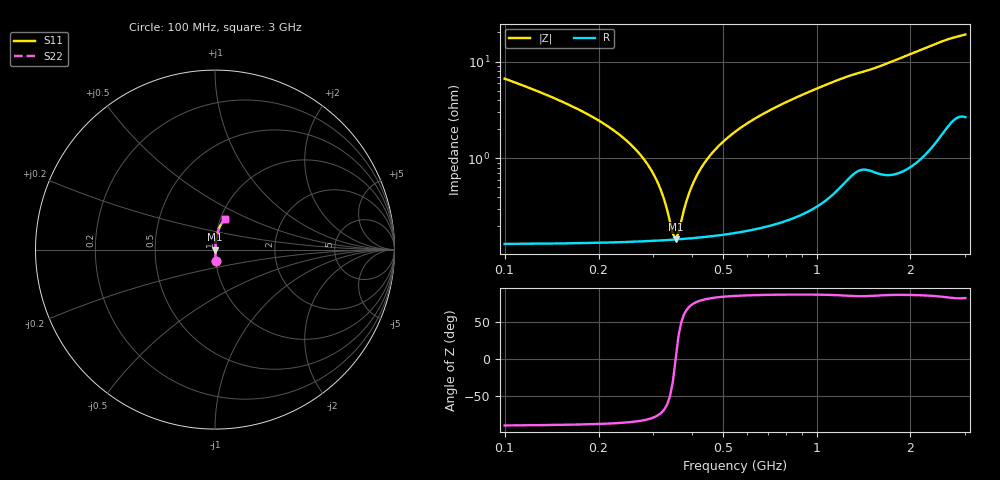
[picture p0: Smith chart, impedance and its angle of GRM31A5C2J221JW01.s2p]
!Murata Part Number: GRM31A5C2J221JW01
!These Parameters are Measured in Series Mode Connection
!Data Generated on Mar 30, 2021
!  o--ll--o
!Port1  Port2
!  o------o
!Operation Temp=25[degC], DC Bias Voltage=0[V]
!Freq. Start=100[MHz] Stop=3[GHz] 401[Steps]
# Hz S RI R 50
!Freq.(Hz) S11(Real) S11(Imag) S21(Real) S21(Imag) S12(Real) S12(Imag) S22(Real) S22(Imag)
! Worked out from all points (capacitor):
!   401 points, 100 MHz to 3 GHz, reference 50 ohm
!   read as one part in series: C = 220 pF near 114.5 MHz
!   lowest |Z| = 145 mohm at 353.8 MHz (marker M1)
!   series resonance near 353.3 MHz, so ESL is about 920 pH
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1e8  0.0057 -0.0661  0.9943 0.0661  0.9943 0.0661  0.0057 -0.0661
2.16e8  0.00179 -0.0209  0.9982 0.0209  0.9982 0.0209  0.00179 -0.0209
2.6675e8  0.00152 -0.0117  0.9985 0.0117  0.9985 0.0117  0.00152 -0.0117
3.03e8  0.00145 -0.00631  0.9986 0.00631  0.9986 0.00631  0.00145 -0.00631
3.175e8  0.00144 -0.00439  0.9986 0.00439  0.9986 0.00439  0.00144 -0.00439
3.3925e8  0.00144 -0.00166  0.9986 0.00166  0.9986 0.00166  0.00144 -0.00166
3.465e8  0.00144 -0.000798  0.9986 0.000798  0.9986 0.000798  0.00144 -0.000798
3.5375e8  0.00145 5.05e-05  0.9986 -5.05e-05  0.9986 -5.05e-05  0.00145 5.05e-05
3.61e8  0.00146 0.000882  0.9985 -0.000882  0.9985 -0.000882  0.00146 0.000882
3.6825e8  0.00147 0.0017  0.9985 -0.0017  0.9985 -0.0017  0.00147 0.0017
3.9e8  0.0015 0.00406  0.9985 -0.00406  0.9985 -0.00406  0.0015 0.00406
4.045e8  0.00153 0.00557  0.9985 -0.00557  0.9985 -0.00557  0.00153 0.00557
4.4075e8  0.00163 0.00915  0.9984 -0.00915  0.9984 -0.00915  0.00163 0.00915
4.9875e8  0.00183 0.0145  0.9982 -0.0145  0.9982 -0.0145  0.00183 0.0145
5.8575e8  0.00223 0.0217  0.9978 -0.0217  0.9978 -0.0217  0.00223 0.0217
6.7275e8  0.00274 0.0285  0.9973 -0.0285  0.9973 -0.0285  0.00274 0.0285
7.815e8  0.00354 0.0365  0.9965 -0.0365  0.9965 -0.0365  0.00354 0.0365
1.0715e9  0.00691 0.0568  0.9931 -0.0568  0.9931 -0.0568  0.00691 0.0568
1.55e9  0.0143 0.0843  0.9857 -0.0843  0.9857 -0.0843  0.0143 0.0843
2.03575e9  0.0226 0.118  0.9774 -0.118  0.9774 -0.118  0.0226 0.118
2.5215e9  0.041 0.151  0.959 -0.151  0.959 -0.151  0.041 0.151
3e9  0.0577 0.1729  0.9423 -0.1729  0.9423 -0.1729  0.0577 0.1729
